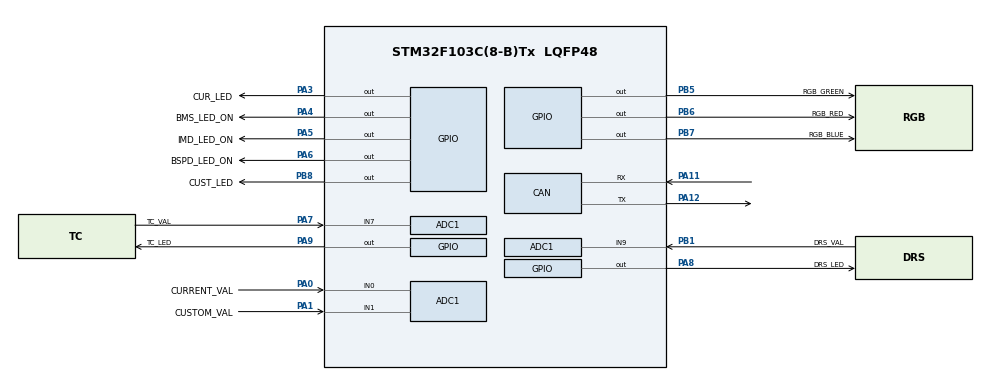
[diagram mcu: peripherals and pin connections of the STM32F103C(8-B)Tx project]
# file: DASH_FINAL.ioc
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ADC1.Channel-0\#ChannelRegularConversion=ADC_CHANNEL_0
ADC1.Channel-1\#ChannelRegularConversion=ADC_CHANNEL_1
ADC1.Channel-2\#ChannelRegularConversion=ADC_CHANNEL_7
ADC1.Channel-3\#ChannelRegularConversion=ADC_CHANNEL_9
ADC1.ContinuousConvMode=ENABLE
ADC1.NbrOfConversion=4
ADC1.NbrOfConversionFlag=1
ADC1.Rank-0\#ChannelRegularConversion=1
ADC1.Rank-1\#ChannelRegularConversion=2
ADC1.Rank-2\#ChannelRegularConversion=3
ADC1.Rank-3\#ChannelRegularConversion=4
ADC1.SamplingTime-0\#ChannelRegularConversion=ADC_SAMPLETIME_7CYCLES_5
ADC1.SamplingTime-1\#ChannelRegularConversion=ADC_SAMPLETIME_7CYCLES_5
ADC1.SamplingTime-2\#ChannelRegularConversion=ADC_SAMPLETIME_7CYCLES_5
ADC1.SamplingTime-3\#ChannelRegularConversion=ADC_SAMPLETIME_7CYCLES_5
ADC1.master=1
CAN.CalculateTimeBit=6000
CAN.CalculateTimeQuantum=2000.0
Mcu.Family=STM32F1
Mcu.Name=STM32F103C(8-B)Tx
Mcu.Package=LQFP48
NVIC.PriorityGroup=NVIC_PRIORITYGROUP_4
NVIC.USB_LP_CAN1_RX0_IRQn=true\:0\:0\:false\:false\:true\:true\:true
PA0-WKUP.GPIO_Label=CURRENT_VAL
PA0-WKUP.Signal=ADCx_IN0
PA1.GPIO_Label=CUSTOM_VAL
PA1.Signal=ADCx_IN1
PA11.Mode=Master
PA11.Signal=CAN_RX
PA12.Mode=Master
PA12.Signal=CAN_TX
PA13.Signal=SYS_JTMS-SWDIO
PA14.Signal=SYS_JTCK-SWCLK
PA3.GPIO_Label=CUR_LED
PA3.Signal=GPIO_Output
PA4.GPIO_Label=BMS_LED_ON
PA4.Signal=GPIO_Output
PA5.GPIO_Label=IMD_LED_ON
PA5.Signal=GPIO_Output
PA6.GPIO_Label=BSPD_LED_ON
PA6.Signal=GPIO_Output
PA7.GPIO_Label=TC_VAL
PA7.Signal=ADCx_IN7
PA8.GPIO_Label=DRS_LED
PA8.Signal=GPIO_Output
PA9.GPIO_Label=TC_LED
PA9.Signal=GPIO_Output
PB1.GPIO_Label=DRS_VAL
PB1.Signal=ADCx_IN9
PB5.GPIO_Label=RGB_GREEN
PB5.Signal=GPIO_Output
PB6.GPIO_Label=RGB_RED
PB6.Signal=GPIO_Output
PB7.GPIO_Label=RGB_BLUE
PB7.Signal=GPIO_Output
PB8.GPIO_Label=CUST_LED
PB8.Signal=GPIO_Output
ProjectManager.HeapSize=0x200
ProjectManager.StackSize=0x400
ProjectManager.TargetToolchain=Makefile
RCC.APB1Freq_Value=8000000
RCC.APB2Freq_Value=8000000
SH.ADCx_IN0.0=ADC1_IN0,IN0
SH.ADCx_IN1.0=ADC1_IN1,IN1
SH.ADCx_IN7.0=ADC1_IN7,IN7
SH.ADCx_IN9.0=ADC1_IN9,IN9
VP_SYS_VS_ND.Mode=No_Debug
board=custom

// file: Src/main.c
/* USER CODE BEGIN Header */
/**
  ******************************************************************************
  * @file           : main.c
  * @brief          : Main program body
  ******************************************************************************
  * @attention
  *
  * <h2><center>&copy; Copyright (c) 2019 STMicroelectronics.
  * All rights reserved.</center></h2>
  *
  * This software component is licensed by ST under BSD 3-Clause license,
  * the "License"; You may not use this file except in compliance with the
  * License. You may obtain a copy of the License at:
  *                        opensource.org/licenses/BSD-3-Clause
  *
  ******************************************************************************
  */
/* USER CODE END Header */

#include "main.h"

/* USER CODE BEGIN Includes */
#include "stdbool.h"
/* USER CODE END Includes */

/* USER CODE BEGIN PD */
#define DASH_CAN_ID			0x00F
#define RINEHART_SEND_ID			0x0C1
#define FAULTS				0x0D0
#define STATES			0x0D1
#define ENABLE_SIG		0x0D2
#define MOTOR_POS		0x0A5
/* USER CODE END PD */

ADC_HandleTypeDef hadc1;
ADC_ChannelConfTypeDef sConfig = {0};
CAN_HandleTypeDef hcan;

/* USER CODE BEGIN PV */

CAN_RxHeaderTypeDef     RxHeader;
uint8_t                 RxData[8];

CAN_TxHeaderTypeDef     POT_TxHeader;
CAN_TxHeaderTypeDef     POT_Txheader;
CAN_TxHeaderTypeDef     POT_Txheader1;
uint8_t                 POT_data[8];
uint8_t                 POT_Data[8];
uint8_t                 POT_Data1[8];
uint32_t                TxMailbox;

volatile char					CAN_flag;

uint16_t				pot_threshold[11] = {0, 615, 1025, 1435, 1845, 2255, 2665, 3075, 3485, 3895, 4095};

/* USER CODE END PV */

void SystemClock_Config(void);
static void MX_GPIO_Init(void);
static void MX_ADC1_Init(void);
static void MX_CAN_Init(void);
/* USER CODE BEGIN PFP */
void POT_read(uint16_t pot_values[4]);
void CAN_interpret(void);
void  POT_interpret(uint16_t pot_values[4]);
/* USER CODE END PFP */

int main(void)
{

  /* MCU Configuration--------------------------------------------------------*/

  /* Reset of all peripherals, Initializes the Flash interface and the Systick. */
  HAL_Init();

  /* Configure the system clock */
  SystemClock_Config();

  /* Initialize all configured peripherals */
  MX_GPIO_Init();
  MX_ADC1_Init();
  MX_CAN_Init();

  /* Infinite loop */
  while (1)
  {

    /* USER CODE BEGIN 3 */

	if (CAN_flag == 0xFF)
		CAN_interpret();

	//send POT positions CAN message

	uint16_t pot_position[4];
	POT_read(pot_position);
	POT_interpret(pot_position);

	HAL_CAN_AddTxMessage(&hcan, &POT_TxHeader, POT_data, &TxMailbox);
  HAL_CAN_AddTxMessage(&hcan, &POT_Txheader, POT_Data, &TxMailbox);

	HAL_Delay(1000);

  }
  /* USER CODE END 3 */
}

void SystemClock_Config(void)
{
  RCC_OscInitTypeDef RCC_OscInitStruct = {0};
  RCC_ClkInitTypeDef RCC_ClkInitStruct = {0};
  RCC_PeriphCLKInitTypeDef PeriphClkInit = {0};

  /** Initializes the CPU, AHB and APB busses clocks
  */
  RCC_OscInitStruct.OscillatorType = RCC_OSCILLATORTYPE_HSI;
  RCC_OscInitStruct.HSIState = RCC_HSI_ON;
  RCC_OscInitStruct.HSICalibrationValue = RCC_HSICALIBRATION_DEFAULT;
  RCC_OscInitStruct.PLL.PLLState = RCC_PLL_NONE;
  if (HAL_RCC_OscConfig(&RCC_OscInitStruct) != HAL_OK)
  {
    Error_Handler();
  }
  /** Initializes the CPU, AHB and APB busses clocks
  */
  RCC_ClkInitStruct.ClockType = RCC_CLOCKTYPE_HCLK|RCC_CLOCKTYPE_SYSCLK
                              |RCC_CLOCKTYPE_PCLK1|RCC_CLOCKTYPE_PCLK2;
  RCC_ClkInitStruct.SYSCLKSource = RCC_SYSCLKSOURCE_HSI;
  RCC_ClkInitStruct.AHBCLKDivider = RCC_SYSCLK_DIV1;
  RCC_ClkInitStruct.APB1CLKDivider = RCC_HCLK_DIV1;
  RCC_ClkInitStruct.APB2CLKDivider = RCC_HCLK_DIV1;

  if (HAL_RCC_ClockConfig(&RCC_ClkInitStruct, FLASH_LATENCY_0) != HAL_OK)
  {
    Error_Handler();
  }
  PeriphClkInit.PeriphClockSelection = RCC_PERIPHCLK_ADC;
  PeriphClkInit.AdcClockSelection = RCC_ADCPCLK2_DIV2;
  if (HAL_RCCEx_PeriphCLKConfig(&PeriphClkInit) != HAL_OK)
  {
    Error_Handler();
  }
}

static void MX_ADC1_Init(void)
{

  //ADC_ChannelConfTypeDef sConfig = {0};

  /** Common config
  */
  hadc1.Instance = ADC1;
  hadc1.Init.ScanConvMode = DISABLE;
  hadc1.Init.ContinuousConvMode = DISABLE;
  hadc1.Init.DiscontinuousConvMode = DISABLE;
  hadc1.Init.ExternalTrigConv = ADC_SOFTWARE_START;
  hadc1.Init.DataAlign = ADC_DATAALIGN_RIGHT;
  hadc1.Init.NbrOfConversion = 4;
  if (HAL_ADC_Init(&hadc1) != HAL_OK)
  {
    Error_Handler();
  }
  /** Configure Regular Channel
  */
  sConfig.Channel = ADC_CHANNEL_0;
  sConfig.Rank = ADC_REGULAR_RANK_1;
  sConfig.SamplingTime = ADC_SAMPLETIME_7CYCLES_5;
  if (HAL_ADC_ConfigChannel(&hadc1, &sConfig) != HAL_OK)
  {
    Error_Handler();
  }
  /** Configure Regular Channel
  */
  sConfig.Channel = ADC_CHANNEL_1;
  sConfig.Rank = ADC_REGULAR_RANK_2;
  if (HAL_ADC_ConfigChannel(&hadc1, &sConfig) != HAL_OK)
  {
    Error_Handler();
  }
  /** Configure Regular Channel
  */
  sConfig.Channel = ADC_CHANNEL_7;
  sConfig.Rank = ADC_REGULAR_RANK_3;
  if (HAL_ADC_ConfigChannel(&hadc1, &sConfig) != HAL_OK)
  {
    Error_Handler();
  }
  /** Configure Regular Channel
  */
  sConfig.Channel = ADC_CHANNEL_9;
  sConfig.Rank = ADC_REGULAR_RANK_4;
  if (HAL_ADC_ConfigChannel(&hadc1, &sConfig) != HAL_OK)
  {
    Error_Handler();
  }

}

static void MX_CAN_Init(void)
{

  /* USER CODE BEGIN CAN_Init 0 */
	CAN_FilterTypeDef     sFilterConfig;
  /* USER CODE END CAN_Init 0 */

hcan.Instance = CAN1;
  hcan.Init.Prescaler = 2; //500kbit/s
  hcan.Init.Mode = CAN_MODE_NORMAL;
  hcan.Init.SyncJumpWidth = CAN_SJW_2TQ;
  hcan.Init.TimeSeg1 = CAN_BS1_13TQ;
  hcan.Init.TimeSeg2 = CAN_BS2_2TQ;
  hcan.Init.TimeTriggeredMode = DISABLE;
  hcan.Init.AutoBusOff = DISABLE;
  hcan.Init.AutoWakeUp = DISABLE;
  hcan.Init.AutoRetransmission = DISABLE;
  hcan.Init.ReceiveFifoLocked = DISABLE;
  hcan.Init.TransmitFifoPriority = DISABLE;
  if (HAL_CAN_Init(&hcan) != HAL_OK)
  {
    Error_Handler();
  }
  /* USER CODE BEGIN CAN_Init 2 */
	POT_TxHeader.StdId = DASH_CAN_ID; 						// CAN standard ID
	POT_TxHeader.RTR = CAN_RTR_DATA; 						// CAN frame type
	POT_TxHeader.IDE = CAN_ID_STD; 							// CAN ID type
	POT_TxHeader.DLC = 4; 									// CAN frame length in bytes
	POT_TxHeader.TransmitGlobalTime = DISABLE;				// CAN timestamp in TxData[6] and TxData[7]

  POT_Txheader.StdId = RINEHART_SEND_ID; 						// CAN standard ID
	POT_Txheader.RTR = CAN_RTR_DATA; 						// CAN frame type
	POT_Txheader.IDE = CAN_ID_STD; 							// CAN ID type
	POT_Txheader.DLC = 8; 									// CAN frame length in bytes
	POT_Txheader.TransmitGlobalTime = DISABLE;				// CAN timestamp in TxData[6] and TxData[7]

	sFilterConfig.FilterBank = 0;							// filter number (0-13)
	sFilterConfig.FilterMode = CAN_FILTERMODE_IDMASK;		// mask mode or identifier mode
	sFilterConfig.FilterScale = CAN_FILTERSCALE_32BIT;
	sFilterConfig.FilterIdHigh = (0x0D0 << 5);					// received ID must match filter ID for each bit specified by filter mask
	sFilterConfig.FilterIdLow = 0x0000;
	sFilterConfig.FilterMaskIdHigh = 0xFFE0;				// specifies which bits of the received ID to compare to the filter ID
	sFilterConfig.FilterMaskIdLow = 0x0000;
	sFilterConfig.FilterFIFOAssignment = CAN_RX_FIFO0;		// receive FIFO (0 or 1, must match chosen interrupt!)
	sFilterConfig.FilterActivation = ENABLE;

	HAL_CAN_ConfigFilter(&hcan, &sFilterConfig);

	HAL_CAN_Start(&hcan);

	HAL_CAN_ActivateNotification(&hcan, CAN_IT_RX_FIFO0_MSG_PENDING);
  /* USER CODE END CAN_Init 2 */

}

static void MX_GPIO_Init(void)
{
  GPIO_InitTypeDef GPIO_InitStruct = {0};

  /* GPIO Ports Clock Enable */
  __HAL_RCC_GPIOA_CLK_ENABLE();
  __HAL_RCC_GPIOB_CLK_ENABLE();

  /*Configure GPIO pin Output Level */
  HAL_GPIO_WritePin(GPIOA, CUR_LED_Pin|BMS_LED_ON_Pin|IMD_LED_ON_Pin|BSPD_LED_ON_Pin
                          |DRS_LED_Pin|TC_LED_Pin, GPIO_PIN_RESET);

  /*Configure GPIO pin Output Level */
  HAL_GPIO_WritePin(GPIOB, RGB_GREEN_Pin|RGB_RED_Pin|RGB_BLUE_Pin|CUST_LED_Pin, GPIO_PIN_RESET);

  /*Configure GPIO pins : CUR_LED_Pin BMS_LED_ON_Pin IMD_LED_ON_Pin BSPD_LED_ON_Pin
                           DRS_LED_Pin TC_LED_Pin */
  GPIO_InitStruct.Pin = CUR_LED_Pin|BMS_LED_ON_Pin|IMD_LED_ON_Pin|BSPD_LED_ON_Pin
                          |DRS_LED_Pin|TC_LED_Pin;
  GPIO_InitStruct.Mode = GPIO_MODE_OUTPUT_PP;
  GPIO_InitStruct.Pull = GPIO_NOPULL;
  GPIO_InitStruct.Speed = GPIO_SPEED_FREQ_LOW;
  HAL_GPIO_Init(GPIOA, &GPIO_InitStruct);

  /*Configure GPIO pins : RGB_GREEN_Pin RGB_RED_Pin RGB_BLUE_Pin CUST_LED_Pin */
  GPIO_InitStruct.Pin = RGB_GREEN_Pin|RGB_RED_Pin|RGB_BLUE_Pin|CUST_LED_Pin;
  GPIO_InitStruct.Mode = GPIO_MODE_OUTPUT_PP;
  GPIO_InitStruct.Pull = GPIO_NOPULL;
  GPIO_InitStruct.Speed = GPIO_SPEED_FREQ_LOW;
  HAL_GPIO_Init(GPIOB, &GPIO_InitStruct);

}

/* USER CODE BEGIN 4 */
void POT_read(uint16_t pot_values[4]) {
	//0 1 7 9

	sConfig.Channel = ADC_CHANNEL_0;
	sConfig.Rank = ADC_REGULAR_RANK_1;
	sConfig.SamplingTime = ADC_SAMPLETIME_71CYCLES_5;
	HAL_ADC_ConfigChannel(&hadc1, &sConfig);

	HAL_ADC_Start(&hadc1);
	HAL_ADC_PollForConversion(&hadc1, 1000);		//change timeout to a HAL define
	pot_values[0] = HAL_ADC_GetValue(&hadc1);
	HAL_ADC_Stop(&hadc1);

	sConfig.Channel = ADC_CHANNEL_1;
	sConfig.Rank = ADC_REGULAR_RANK_1;
	sConfig.SamplingTime = ADC_SAMPLETIME_71CYCLES_5;
	HAL_ADC_ConfigChannel(&hadc1, &sConfig);

	HAL_ADC_Start(&hadc1);
	HAL_ADC_PollForConversion(&hadc1, 1000);
	pot_values[1] = HAL_ADC_GetValue(&hadc1);
	HAL_ADC_Stop(&hadc1);

	sConfig.Channel = ADC_CHANNEL_7;
	sConfig.Rank = ADC_REGULAR_RANK_1;
	sConfig.SamplingTime = ADC_SAMPLETIME_71CYCLES_5;
	HAL_ADC_ConfigChannel(&hadc1, &sConfig);

	HAL_ADC_Start(&hadc1);
	HAL_ADC_PollForConversion(&hadc1, 1000);
	pot_values[2] = HAL_ADC_GetValue(&hadc1);
	HAL_ADC_Stop(&hadc1);

	sConfig.Channel = ADC_CHANNEL_9;
	sConfig.Rank = ADC_REGULAR_RANK_1;
	sConfig.SamplingTime = ADC_SAMPLETIME_71CYCLES_5;
	HAL_ADC_ConfigChannel(&hadc1, &sConfig);

	HAL_ADC_Start(&hadc1);
	HAL_ADC_PollForConversion(&hadc1, 1000);
	pot_values[3] = HAL_ADC_GetValue(&hadc1);

	HAL_ADC_Stop(&hadc1);

}

void POT_interpret(uint16_t pot_values[4]) {

	uint8_t pot_pos[4];
	uint8_t i, j;

	for (i = 0; i < 4; i++) {

		for (j = 0; j < 10; j++) {

			//uint16_t pot_threshold[12] = {0, 615, 1025, 1435, 1845, 2255, 2665, 3075, 3485, 3895, 4095};
			if ((pot_values[i] > pot_threshold[j]) && (pot_values[i] <= pot_threshold[j + 1]))
				pot_pos[i] = 10 - (j + 1); // pot_pos[i] = 0 is ~3.3V, pot_pos[i] = 1 is ~3V, etc.
			}

		POT_data[i] = pot_pos[i];
		//POT_data[0] = 0x00;

	}

POT_Data[2] = 1;
POT_Data[1] = 1;
POT_Data[0] = 100;

if (pot_pos[1] == 0){
	POT_Data[5] = 1;
  POT_Data[4] = 244;
  }

else if (pot_pos[1] == 1){
  	POT_Data[5] = 3;
    POT_Data[4] = 232;
  }

else if (pot_pos[1] == 2){
    	POT_Data[5] = 4;
      POT_Data[4] = 176;
  }

else if (pot_pos[1] == 3){
    	POT_Data[5] = 5;
      POT_Data[4] = 70;
  }

else if (pot_pos[1] == 4){
      	POT_Data[5] = 5;
        POT_Data[4] = 220;
  }

else if (pot_pos[1] == 5){
        	POT_Data[5] = 6;
          POT_Data[4] = 114;
  }

else if (pot_pos[1] == 6){
    	POT_Data[5] = 7;
      POT_Data[4] = 8;
  }

else if (pot_pos[1] == 7){
    	POT_Data[5] = 7;
      POT_Data[4] = 158;
  }

else if (pot_pos[1] == 8){
    	POT_Data[5] = 8;
      POT_Data[4] = 52;
  }

else if (pot_pos[1] == 9){
    	POT_Data[5] = 8;
      POT_Data[4] = 202;
  }

	if (pot_pos[0] != 0) // if CURRENT_POT is in any position other than first, turn on CUR_LED
		HAL_GPIO_WritePin(GPIOB, CUST_LED_Pin, GPIO_PIN_SET);
  else
  	HAL_GPIO_WritePin(GPIOB, CUST_LED_Pin, GPIO_PIN_RESET);

	if (pot_pos[1] != 0) // if CUSTOM_POT is in any position other than first, turn on CUST_LED
		HAL_GPIO_WritePin(GPIOA, CUR_LED_Pin, GPIO_PIN_SET);
	else
		HAL_GPIO_WritePin(GPIOA, CUR_LED_Pin, GPIO_PIN_RESET);

	if (pot_pos[2] != 0) // if TC_POT is in any position other than first, turn on TC_LED
		HAL_GPIO_WritePin(GPIOA, TC_LED_Pin, GPIO_PIN_SET);
	else
		HAL_GPIO_WritePin(GPIOA, TC_LED_Pin, GPIO_PIN_RESET);

	if (pot_pos[3] != 0) // if DRS_POT is in any position other than first, turn on DRS_LED
		HAL_GPIO_WritePin(GPIOA, DRS_LED_Pin, GPIO_PIN_SET);
	else
		HAL_GPIO_WritePin(GPIOA, DRS_LED_Pin, GPIO_PIN_RESET);

}

void HAL_CAN_RxFifo0MsgPendingCallback(CAN_HandleTypeDef *CanHandle)
{
  if (HAL_CAN_GetRxMessage(&hcan, CAN_RX_FIFO0, &RxHeader, RxData) == HAL_OK)
	  CAN_flag = 0xFF;
}

void CAN_interpret(void) {

	uint16_t received_ID;
	received_ID = RxHeader.StdId;

	if (received_ID == FAULTS) {

		uint8_t BMS_fault;
		uint8_t IMD_fault;
		uint8_t BSPD_fault;
		bool any_fault;

		BMS_fault = RxData[0];
		IMD_fault = RxData[1];
		BSPD_fault = RxData[2];

		if (BMS_fault == 0xFF) {
			HAL_GPIO_WritePin(GPIOA, BMS_LED_ON_Pin, GPIO_PIN_SET);
			any_fault = true;
		}
		else if (BMS_fault == 0x00)
			HAL_GPIO_WritePin(GPIOA, BMS_LED_ON_Pin, GPIO_PIN_RESET);

		if (IMD_fault == 0xFF) {
			HAL_GPIO_WritePin(GPIOA, IMD_LED_ON_Pin, GPIO_PIN_SET);
			any_fault = true;
		}
		else if (IMD_fault == 0x00)
			HAL_GPIO_WritePin(GPIOA, IMD_LED_ON_Pin, GPIO_PIN_RESET);

		if (BSPD_fault == 0xFF) {
			HAL_GPIO_WritePin(GPIOA, BSPD_LED_ON_Pin, GPIO_PIN_SET);
			any_fault = true;
		}
		else if (BSPD_fault == 0x00)
			HAL_GPIO_WritePin(GPIOA, BSPD_LED_ON_Pin, GPIO_PIN_RESET);

		if (any_fault == true) {
			// if there is any fault
			HAL_GPIO_WritePin(GPIOB, RGB_GREEN_Pin, GPIO_PIN_RESET); // set RGB LED red
			HAL_GPIO_WritePin(GPIOB, RGB_RED_Pin, GPIO_PIN_SET);
			HAL_GPIO_WritePin(GPIOB, RGB_BLUE_Pin, GPIO_PIN_RESET);
			any_fault = false;
		}

	}

	if (received_ID == STATES) {

		uint8_t Precharge_state;
		Precharge_state = RxData[0];

		if (Precharge_state == 0x01) {
			// if precharge is complete
			HAL_GPIO_WritePin(GPIOB, RGB_GREEN_Pin, GPIO_PIN_RESET); // set RGB LED green
			HAL_GPIO_WritePin(GPIOB, RGB_RED_Pin, GPIO_PIN_RESET);
			HAL_GPIO_WritePin(GPIOB, RGB_BLUE_Pin, GPIO_PIN_RESET);
		}

		if (Precharge_state == 0x02) {
			// if precharge is not complete
			HAL_GPIO_WritePin(GPIOB, RGB_GREEN_Pin, GPIO_PIN_RESET); // set RGB LED blue
			HAL_GPIO_WritePin(GPIOB, RGB_RED_Pin, GPIO_PIN_RESET);
			HAL_GPIO_WritePin(GPIOB, RGB_BLUE_Pin, GPIO_PIN_SET);

		}

  if (Precharge_state == 0x04) {
      // if precharge is not complete
      HAL_GPIO_WritePin(GPIOB, RGB_GREEN_Pin, GPIO_PIN_SET); // set RGB LED blue
      HAL_GPIO_WritePin(GPIOB, RGB_RED_Pin, GPIO_PIN_RESET);
      HAL_GPIO_WritePin(GPIOB, RGB_BLUE_Pin, GPIO_PIN_SET);

    }
    if (Precharge_state == 0x08) {
      // if precharge is not complete
      HAL_GPIO_WritePin(GPIOB, RGB_GREEN_Pin, GPIO_PIN_SET); // set RGB LED blue
      HAL_GPIO_WritePin(GPIOB, RGB_RED_Pin, GPIO_PIN_RESET);
      HAL_GPIO_WritePin(GPIOB, RGB_BLUE_Pin, GPIO_PIN_RESET);

    }
    if (Precharge_state == 0x10) {
      // if precharge is not complete
      HAL_GPIO_WritePin(GPIOB, RGB_GREEN_Pin, GPIO_PIN_SET); // set RGB LED blue
      HAL_GPIO_WritePin(GPIOB, RGB_RED_Pin, GPIO_PIN_RESET);
      HAL_GPIO_WritePin(GPIOB, RGB_BLUE_Pin, GPIO_PIN_RESET);

    }
    if (Precharge_state == 0x20) {
      // if precharge is not complete
      HAL_GPIO_WritePin(GPIOB, RGB_GREEN_Pin, GPIO_PIN_RESET); // set RGB LED blue
      HAL_GPIO_TogglePin(GPIOB, RGB_RED_Pin);
      HAL_GPIO_TogglePin(GPIOB, RGB_BLUE_Pin);

    }
    uint8_t BMS_fault;
    uint8_t IMD_fault;
    uint8_t BSPD_fault;
    bool any_fault;

    BMS_fault = RxData[1];
    IMD_fault = RxData[2];
    BSPD_fault = RxData[3];

    if (BMS_fault == 0xFF) {
      HAL_GPIO_WritePin(GPIOA, BMS_LED_ON_Pin, GPIO_PIN_SET);
      any_fault = true;
    }
    else if (BMS_fault == 0x00)
      HAL_GPIO_WritePin(GPIOA, BMS_LED_ON_Pin, GPIO_PIN_RESET);

    if (IMD_fault == 0xFF) {
      HAL_GPIO_WritePin(GPIOA, IMD_LED_ON_Pin, GPIO_PIN_SET);
      any_fault = true;
    }
    else if (IMD_fault == 0x00)
      HAL_GPIO_WritePin(GPIOA, IMD_LED_ON_Pin, GPIO_PIN_RESET);

    if (BSPD_fault == 0xFF) {
      HAL_GPIO_WritePin(GPIOA, BSPD_LED_ON_Pin, GPIO_PIN_SET);
      any_fault = true;
    }
    else if (BSPD_fault == 0x00)
      HAL_GPIO_WritePin(GPIOA, BSPD_LED_ON_Pin, GPIO_PIN_RESET);

    if (any_fault == true) {
      // if there is any fault
      HAL_GPIO_WritePin(GPIOB, RGB_GREEN_Pin, GPIO_PIN_RESET); // set RGB LED red
      HAL_GPIO_WritePin(GPIOB, RGB_RED_Pin, GPIO_PIN_SET);
      HAL_GPIO_WritePin(GPIOB, RGB_BLUE_Pin, GPIO_PIN_RESET);
      any_fault = false;
    }

	}

if (received_ID == MOTOR_POS) {
  uint16_t Rpm;
  Rpm = RxData[2] + 256*RxData[3];
  POT_Data1[2] = 1;
  POT_Data1[1] = 0;
  POT_Data1[0] = 130;

  if (Rpm < 50){
    POT_Data1[5] = 0;
    POT_Data1[4] = 0;
    HAL_CAN_AddTxMessage(&hcan, &POT_Txheader, POT_Data1, &TxMailbox);
  }

  if (Rpm >= 50){
    POT_Data1[5] = 3;
    POT_Data1[4] = 232;
    HAL_CAN_AddTxMessage(&hcan, &POT_Txheader, POT_Data1, &TxMailbox);
  }

}

	CAN_flag = 0x00;

}
/* USER CODE END 4 */

void Error_Handler(void)
{
}

/************************ (C) COPYRIGHT STMicroelectronics *****END OF FILE****/
